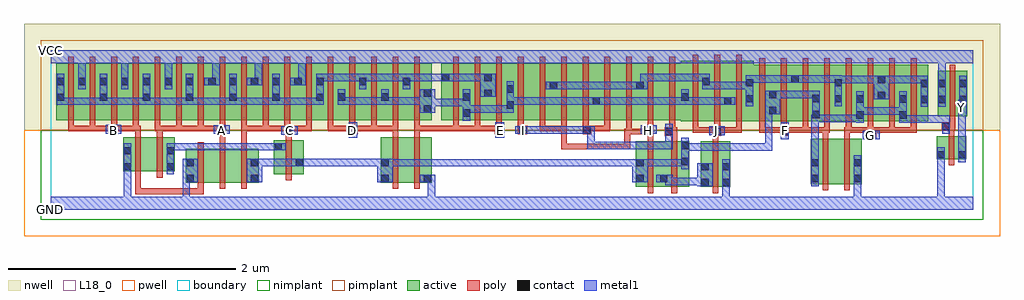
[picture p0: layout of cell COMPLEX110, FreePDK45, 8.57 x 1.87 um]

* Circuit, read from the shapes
.subckt COMPLEX110 A B C D E F G GND H I J VCC Y
M1 n1 B GND VSUBS nfet w=0.3u l=0.05u
M2 n2 A n1 VSUBS nfet w=0.3u l=0.05u
M3 n3 B GND VSUBS nfet w=0.3u l=0.05u
M4 n4 A n3 VSUBS nfet w=0.3u l=0.05u
M5 n5 C n4 VSUBS nfet w=0.3u l=0.05u
M6 n5 C n2 VSUBS nfet w=0.3u l=0.05u
M7 n6 D n5 VSUBS nfet w=0.4u l=0.05u
M8 GND E n6 VSUBS nfet w=0.4u l=0.05u
M9 n7 H n5 VSUBS nfet w=0.4u l=0.05u
M10 n5 I n7 VSUBS nfet w=0.4u l=0.05u
M11 GND J n7 VSUBS nfet w=0.4u l=0.05u
M12 n8 F n5 VSUBS nfet w=0.4u l=0.05u
M13 GND G n8 VSUBS nfet w=0.4u l=0.05u
M14 Y n5 GND VSUBS nfet w=0.2u l=0.05u
M15 VCC B n9 n10 pfet w=0.5u l=0.05u m=4
M16 VCC A n9 n10 pfet w=0.5u l=0.05u m=4
M17 VCC C n9 n10 pfet w=0.5u l=0.05u m=4
M18 n11 D n9 n10 pfet w=0.5u l=0.05u m=4
M19 n11 E n9 n10 pfet w=0.5u l=0.05u m=4
M20 n12 I n11 n10 pfet w=0.5u l=0.05u
M21 n13 H n12 n10 pfet w=0.5u l=0.05u
M22 n14 H n13 n10 pfet w=0.5u l=0.05u
M23 n11 I n14 n10 pfet w=0.5u l=0.05u
M24 n15 I n11 n10 pfet w=0.5u l=0.05u
M25 n13 H n15 n10 pfet w=0.5u l=0.05u
M26 n16 H n13 n10 pfet w=0.5u l=0.05u
M27 n11 I n16 n10 pfet w=0.5u l=0.05u
M28 n13 J n11 n10 pfet w=0.532u l=0.05u m=3
M29 n5 F n13 n10 pfet w=0.5u l=0.05u m=4
M30 n5 G n13 n10 pfet w=0.5u l=0.05u m=4
M31 Y n5 VCC n10 pfet w=0.4u l=0.05u
.ends

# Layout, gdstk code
import gdstk
lib = gdstk.Library(unit=1e-6, precision=1e-09)
def R(c, l, rs):  # rectangles x0, y0, x1, y1
    for r in rs: c.add(gdstk.rectangle(r[:2], r[2:], *l))
def A(c, l, x, y, w, h, nx, ny, dx, dy):  # array of equal rectangles
    R(c, l, [(x+i*dx, y+j*dy, x+i*dx+w, y+j*dy+h) for i in range(nx) for j in range(ny)])
active = (1, 0)
pwell = (2, 0)
nwell = (3, 0)
nimplant = (4, 0)
pimplant = (5, 0)
poly = (9, 0)
contact = (10, 0)
metal1 = (11, 0)
L18_0 = (18, 0)
boundary = (235, 0)

complex110 = lib.new_cell('COMPLEX110')
A(complex110, active, 6.877, 0.775, 0.265, 0.5, 3, 1, 0.19, 0)
A(complex110, active, 1.562, 0.787, 0.265, 0.5, 3, 1, 0.19, 0)
A(complex110, active, 0.802, 0.807, 0.075, 0.393, 4, 1, 0.38, 0)
A(complex110, active, 6.497, 0.807, 0.075, 0.393, 3, 1, 0.38, 0)
R(complex110, active, [(5.137,0.2,5.212,0.6), (5.137,0.2,5.42,0.6), (5.345,0.2,5.605,0.6), (5.345,0.2,5.42,0.492), (5.707,0.2,5.782,0.6), (5.707,0.2,5.967,0.6), (5.892,0.2,5.967,0.6), (6.672,0.225,6.897,0.625), (6.897,0.225,7.122,0.625), (6.672,0.235,6.747,0.625), (7.047,0.235,7.122,0.625), (1.187,0.237,1.262,0.537), (1.187,0.237,1.412,0.537), (1.412,0.237,1.602,0.537), (1.602,0.237,1.827,0.537), (1.752,0.237,1.827,0.537), (2.897,0.237,3.122,0.637), (2.897,0.237,2.972,0.637), (3.122,0.237,3.347,0.637), (3.272,0.237,3.347,0.637), (5.53,0.245,5.605,0.6), (1.96,0.312,2.22,0.612), (1.96,0.33,2.035,0.612), (2.145,0.33,2.22,0.612), (0.637,0.337,0.712,0.637), (0.637,0.337,0.862,0.637), (0.862,0.337,1.087,0.637), (1.012,0.337,1.087,0.637), (7.78,0.445,7.855,0.645), (7.78,0.445,8.04,0.645), (7.965,0.445,8.04,0.645), (5.532,0.775,5.792,1.307), (5.717,0.775,5.792,1.2), (5.717,0.775,5.982,1.307), (5.907,0.775,5.982,1.07), (5.907,0.775,6.172,1.307), (6.097,0.775,6.172,1.2), (6.097,0.775,6.377,1.275), (6.302,0.775,6.377,1.07), (6.302,0.775,6.572,1.275), (6.497,0.775,6.757,1.275), (6.682,0.775,6.757,1.07), (6.682,0.775,6.952,1.275), (7.067,0.775,7.142,1.07), (7.447,0.775,7.707,1.275), (7.447,0.775,7.522,1.07), (7.632,0.775,7.707,1.2), (0.047,0.787,0.312,1.287), (0.047,0.787,0.122,1.2), (0.237,0.787,0.502,1.287), (0.427,0.787,0.687,1.287), (0.612,0.787,0.877,1.287), (0.802,0.787,1.072,1.287), (0.997,0.787,1.257,1.287), (1.182,0.787,1.452,1.287), (1.377,0.787,1.637,1.287), (2.132,0.787,2.402,1.287), (2.327,0.787,2.592,1.287), (2.517,0.787,2.777,1.287), (2.702,0.787,2.972,1.287), (2.897,0.787,3.162,1.287), (3.087,0.787,3.347,1.287), (3.272,0.787,3.347,1.07), (3.427,0.787,3.687,1.287), (3.427,0.787,3.502,1.2), (3.612,0.787,3.877,1.287), (3.802,0.787,4.072,1.287), (3.997,0.787,4.222,1.287), (4.222,0.787,4.452,1.287), (4.377,0.787,4.602,1.287), (4.602,0.787,4.827,1.287), (4.752,0.787,4.982,1.287), (4.982,0.787,5.212,1.287), (5.137,0.787,5.362,1.287), (5.362,0.787,5.607,1.287), (5.532,0.787,5.607,1.07), (0.237,0.807,0.312,1.255), (0.427,0.807,0.502,1.2), (0.612,0.807,0.687,1.255), (0.997,0.807,1.072,1.255), (1.377,0.807,1.452,1.255), (1.752,0.807,1.827,1.255), (2.132,0.807,2.207,1.255), (2.327,0.807,2.402,1.2), (2.517,0.807,2.592,1.07), (2.702,0.807,2.777,1.2), (2.897,0.807,2.972,1.07), (3.087,0.807,3.162,1.2), (3.612,0.807,3.687,1.07), (3.802,0.807,3.877,1.2), (3.997,0.807,4.072,1.2), (4.377,0.807,4.452,1.2), (4.752,0.807,4.827,1.07), (5.137,0.807,5.212,1.2), (7.787,0.82,7.862,1.22), (7.787,0.82,8.047,1.22), (7.972,0.82,8.047,1.165)])
R(complex110, pwell, [(-0.235,-0.235,8.335,0.7)])
R(complex110, nwell, [(-0.235,0.7,8.335,1.635)])
R(complex110, nimplant, [(-0.09,-0.09,8.19,0.7)])
R(complex110, pimplant, [(-0.09,0.7,8.19,1.49)])
A(complex110, poly, 1.292, 0.182, 0.05, 0.41, 3, 1, 0.19, 0)
A(complex110, poly, 5.637, 0.675, 0.05, 0.095, 3, 1, 0.19, 0)
A(complex110, poly, 6.222, 0.675, 0.05, 0.095, 8, 1, 0.19, 0)
A(complex110, poly, 0.152, 0.687, 0.05, 0.095, 17, 1, 0.19, 0)
A(complex110, poly, 3.532, 0.687, 0.05, 0.095, 8, 1, 0.19, 0)
A(complex110, poly, 5.637, 0.72, 0.05, 0.642, 3, 1, 0.19, 0)
A(complex110, poly, 6.222, 0.72, 0.05, 0.61, 8, 1, 0.19, 0)
A(complex110, poly, 0.152, 0.732, 0.05, 0.61, 17, 1, 0.19, 0)
A(complex110, poly, 3.532, 0.732, 0.05, 0.61, 11, 1, 0.19, 0)
R(complex110, poly, [(0.742,0.137,0.792,0.187), (0.742,0.137,0.792,0.187), (0.742,0.137,0.792,0.187), (0.742,0.137,0.792,0.332), (0.742,0.137,1.02,0.187), (0.97,0.137,1.02,0.187), (0.97,0.137,1.02,0.187), (0.97,0.137,1.02,0.187), (0.97,0.137,1.21,0.187), (1.16,0.137,1.21,0.187), (1.16,0.137,1.342,0.187), (1.292,0.137,1.342,0.232), (1.292,0.137,1.342,0.187), (1.292,0.137,1.342,0.187), (1.292,0.137,1.342,0.187), (5.242,0.145,5.292,0.655), (5.45,0.145,5.5,0.655), (5.812,0.145,5.862,0.655), (6.777,0.17,6.827,0.68), (6.967,0.17,7.017,0.68), (3.002,0.182,3.052,0.692), (3.192,0.182,3.242,0.692), (2.065,0.257,2.115,0.667), (0.742,0.282,0.792,0.692), (0.932,0.282,0.982,0.692), (7.885,0.39,7.935,0.7), (4.482,0.53,4.532,0.58), (4.482,0.53,4.532,0.58), (4.482,0.53,4.532,0.58), (4.482,0.53,4.665,0.58), (4.482,0.53,4.532,0.737), (4.615,0.53,4.665,0.58), (4.615,0.53,4.665,0.58), (4.615,0.53,4.665,0.58), (4.615,0.53,4.955,0.58), (4.905,0.53,4.955,0.58), (4.905,0.53,4.955,0.58), (4.905,0.53,4.955,0.58), (4.905,0.53,5.087,0.58), (5.037,0.53,5.087,0.58), (5.037,0.53,5.087,0.58), (5.037,0.53,5.087,0.58), (5.037,0.53,5.087,0.712), (1.482,0.542,1.532,0.712), (1.672,0.542,1.722,0.737), (5.242,0.605,5.292,0.712), (5.45,0.605,5.5,0.7), (5.812,0.605,5.862,0.7), (2.065,0.617,2.115,0.712), (7.172,0.622,7.247,0.725), (6.777,0.63,6.827,0.725), (6.967,0.63,7.017,0.725), (0.742,0.642,0.792,0.737), (0.932,0.642,0.982,0.737), (3.002,0.642,3.052,0.737), (3.192,0.642,3.242,0.737), (5.392,0.65,5.5,0.725), (5.812,0.65,5.887,0.725), (6.405,0.65,6.48,0.725), (7.885,0.65,7.935,0.745), (0.512,0.662,0.587,0.737), (1.46,0.662,1.535,0.737), (2.052,0.662,2.13,0.737), (2.622,0.662,2.697,0.737), (3.897,0.662,3.972,0.737), (4.102,0.662,4.185,0.737), (4.672,0.662,4.747,0.737), (5.037,0.662,5.087,0.712), (5.037,0.662,5.087,0.712), (5.037,0.662,5.102,0.712), (5.052,0.662,5.267,0.712), (5.052,0.662,5.102,0.782), (5.217,0.662,5.267,0.712), (5.217,0.662,5.267,0.712), (5.217,0.662,5.292,0.737), (5.432,0.675,5.482,0.782), (5.637,0.675,5.687,0.725), (5.637,0.675,5.687,0.725), (5.637,0.675,5.687,0.725), (5.637,0.675,5.862,0.725), (5.837,0.675,6.067,0.725), (6.017,0.675,6.067,0.725), (6.017,0.675,6.067,0.725), (6.017,0.675,6.067,0.725), (6.222,0.675,6.272,0.725), (6.222,0.675,6.455,0.725), (6.405,0.675,6.455,0.725), (6.405,0.675,6.455,0.725), (6.43,0.675,6.652,0.725), (6.602,0.675,6.652,0.725), (6.602,0.675,6.652,0.725), (6.602,0.675,6.652,0.725), (6.602,0.675,6.827,0.725), (6.777,0.675,6.827,0.725), (6.777,0.675,6.827,0.725), (6.777,0.675,6.842,0.725), (6.967,0.675,7.032,0.725), (6.982,0.675,7.222,0.725), (7.172,0.675,7.222,0.725), (7.172,0.675,7.222,0.725), (7.197,0.675,7.412,0.725), (7.362,0.675,7.412,0.725), (7.362,0.675,7.412,0.725), (7.362,0.675,7.412,0.725), (7.362,0.675,7.602,0.725), (7.552,0.675,7.602,0.725), (7.552,0.675,7.602,0.725), (7.552,0.675,7.602,0.725), (0.152,0.687,0.202,0.737), (0.152,0.687,0.202,0.737), (0.152,0.687,0.202,0.737), (0.152,0.687,0.392,0.737), (0.342,0.687,0.392,0.737), (0.342,0.687,0.392,0.737), (0.342,0.687,0.392,0.737), (0.342,0.687,0.562,0.737), (0.537,0.687,0.587,0.737), (0.537,0.687,0.587,0.737), (0.537,0.687,0.772,0.737), (0.722,0.687,0.792,0.737), (0.912,0.687,0.982,0.737), (0.932,0.687,0.982,0.737), (0.932,0.687,0.982,0.737), (0.932,0.687,1.152,0.737), (1.102,0.687,1.152,0.737), (1.102,0.687,1.342,0.737), (1.292,0.687,1.342,0.737), (1.292,0.687,1.342,0.737), (1.292,0.687,1.342,0.737), (1.292,0.687,1.51,0.737), (1.46,0.687,1.51,0.737), (1.46,0.687,1.51,0.737), (1.672,0.687,1.722,0.737), (1.672,0.687,1.722,0.737), (1.672,0.687,1.722,0.737), (1.672,0.687,1.912,0.737), (1.862,0.687,1.915,0.737), (1.865,0.687,1.915,0.737), (1.865,0.687,1.915,0.737), (1.865,0.687,2.102,0.737), (2.08,0.687,2.13,0.737), (2.08,0.687,2.13,0.737), (2.08,0.687,2.292,0.737), (2.242,0.687,2.292,0.737), (2.432,0.687,2.482,0.737), (2.432,0.687,2.482,0.737), (2.432,0.687,2.482,0.737), (2.432,0.687,2.672,0.737), (2.647,0.687,2.862,0.737), (2.812,0.687,2.862,0.737), (2.812,0.687,2.862,0.737), (2.812,0.687,2.862,0.737), (2.812,0.687,3.052,0.737), (3.002,0.687,3.052,0.737), (3.002,0.687,3.052,0.737), (3.002,0.687,3.052,0.737), (3.192,0.687,3.242,0.737), (3.192,0.687,3.242,0.737), (3.192,0.687,3.242,0.737), (3.192,0.687,3.582,0.737), (3.532,0.687,3.582,0.737), (3.532,0.687,3.582,0.737), (3.532,0.687,3.582,0.737), (3.532,0.687,3.772,0.737), (3.722,0.687,3.772,0.737), (3.722,0.687,3.772,0.737), (3.722,0.687,3.772,0.737), (3.722,0.687,3.947,0.737), (3.897,0.687,3.947,0.737), (3.897,0.687,3.947,0.737), (4.292,0.687,4.342,0.737), (4.292,0.687,4.532,0.737), (4.482,0.687,4.532,0.737), (4.482,0.687,4.532,0.737), (4.482,0.687,4.532,0.737), (4.697,0.687,4.797,0.737), (4.747,0.687,4.797,0.737), (4.747,0.687,4.912,0.737), (4.862,0.687,4.912,0.737), (5.242,0.687,5.292,0.782), (7.825,0.695,7.942,0.77), (7.892,0.72,7.942,0.815), (7.892,0.765,7.942,1.275)])
A(complex110, contact, 0.807, 0.955, 0.065, 0.065, 4, 1, 0.38, 0)
A(complex110, contact, 0.052, 1.095, 0.065, 0.065, 3, 1, 0.19, 0)
A(complex110, contact, 1.567, 1.095, 0.065, 0.065, 4, 1, 0.19, 0)
R(complex110, contact, [(5.712,0.205,5.777,0.27), (5.897,0.205,5.962,0.27), (5.142,0.24,5.207,0.305), (5.35,0.24,5.415,0.305), (6.677,0.24,6.742,0.305), (7.052,0.24,7.117,0.305), (1.192,0.242,1.257,0.307), (1.757,0.242,1.822,0.307), (2.902,0.242,2.967,0.307), (3.277,0.242,3.342,0.307), (0.642,0.345,0.707,0.41), (1.017,0.345,1.082,0.41), (5.712,0.345,5.777,0.41), (5.897,0.345,5.962,0.41), (5.142,0.38,5.207,0.445), (6.677,0.38,6.742,0.445), (7.052,0.38,7.117,0.445), (1.192,0.382,1.257,0.447), (1.757,0.382,1.822,0.447), (2.15,0.382,2.215,0.447), (2.902,0.382,2.967,0.447), (5.535,0.39,5.6,0.455), (7.785,0.45,7.85,0.515), (7.97,0.45,8.035,0.515), (0.642,0.485,0.707,0.55), (1.017,0.485,1.082,0.55), (1.965,0.52,2.03,0.585), (5.535,0.53,5.6,0.595), (7.177,0.627,7.242,0.692), (5.397,0.655,5.462,0.72), (5.817,0.655,5.882,0.72), (6.41,0.655,6.475,0.72), (0.517,0.667,0.582,0.732), (1.465,0.667,1.53,0.732), (2.06,0.667,2.125,0.732), (2.627,0.667,2.692,0.732), (3.902,0.667,3.967,0.732), (4.115,0.667,4.18,0.732), (4.677,0.667,4.742,0.732), (5.222,0.667,5.287,0.732), (7.83,0.7,7.895,0.765), (7.072,0.8,7.137,0.865), (7.452,0.8,7.517,0.865), (6.687,0.805,6.752,0.87), (3.617,0.817,3.682,0.882), (6.307,0.84,6.372,0.905), (3.277,0.852,3.342,0.917), (4.002,0.887,4.067,0.952), (4.757,0.922,4.822,0.987), (5.912,0.922,5.977,0.987), (7.637,0.937,7.702,1.002), (7.792,0.937,7.857,1.002), (7.977,0.937,8.042,1.002), (7.072,0.94,7.137,1.005), (7.452,0.94,7.517,1.005), (6.102,0.942,6.167,1.007), (6.882,0.942,6.947,1.007), (6.687,0.945,6.752,1.01), (0.052,0.955,0.117,1.02), (0.432,0.955,0.497,1.02), (2.332,0.955,2.397,1.02), (2.522,0.957,2.587,1.022), (2.902,0.957,2.967,1.022), (3.617,0.957,3.682,1.022), (5.537,0.957,5.602,1.022), (7.262,0.972,7.327,1.037), (6.307,0.98,6.372,1.045), (3.807,0.99,3.872,1.055), (3.277,0.992,3.342,1.057), (4.002,1.027,4.067,1.092), (4.382,1.06,4.447,1.125), (5.142,1.06,5.207,1.125), (7.637,1.077,7.702,1.142), (7.792,1.077,7.857,1.142), (7.977,1.077,8.042,1.142), (6.102,1.082,6.167,1.147), (6.882,1.082,6.947,1.147), (0.617,1.095,0.682,1.16), (0.807,1.095,0.872,1.16), (1.002,1.095,1.067,1.16), (1.187,1.095,1.252,1.16), (1.382,1.095,1.447,1.16), (2.332,1.095,2.397,1.16), (2.707,1.095,2.772,1.16), (3.092,1.095,3.157,1.16), (5.722,1.095,5.787,1.16), (7.262,1.112,7.327,1.177), (6.502,1.117,6.567,1.182), (3.432,1.13,3.497,1.195), (3.807,1.13,3.872,1.195)])
A(complex110, metal1, 0.807, 0.92, 0.065, 0.275, 4, 1, 0.38, 0)
R(complex110, metal1, [(0,0,8.1,0.115), (0.642,0.05,0.707,0.115), (0.642,0.05,0.707,0.115), (0.642,0.05,0.707,0.115), (0.642,0.05,0.707,0.115), (0.642,0.05,0.707,0.375), (1.157,0.05,1.222,0.115), (1.157,0.05,1.222,0.115), (1.157,0.05,1.222,0.115), (1.157,0.05,1.222,0.115), (1.157,0.05,1.222,0.307), (3.312,0.05,3.377,0.307), (5.897,0.05,5.962,0.115), (5.897,0.05,5.962,0.115), (5.897,0.05,5.962,0.235), (7.052,0.05,7.117,0.115), (7.052,0.05,7.117,0.115), (7.052,0.05,7.117,0.27), (7.785,0.05,7.85,0.115), (7.785,0.05,7.85,0.115), (7.785,0.05,7.85,0.115), (7.785,0.05,7.85,0.115), (7.785,0.05,7.85,0.115), (7.785,0.05,7.85,0.115), (7.785,0.05,7.85,0.48), (5.897,0.17,5.962,0.445), (5.677,0.205,5.812,0.41), (6.677,0.205,6.742,0.48), (7.052,0.205,7.117,0.48), (5.397,0.217,5.602,0.282), (5.397,0.217,5.462,0.305), (5.537,0.217,5.602,0.282), (5.537,0.217,5.602,0.282), (5.537,0.217,5.602,0.282), (5.537,0.217,5.742,0.282), (5.107,0.24,5.242,0.445), (5.315,0.24,5.45,0.305), (5.385,0.24,5.462,0.305), (1.157,0.242,1.292,0.447), (1.722,0.242,1.857,0.447), (2.867,0.242,3.002,0.447), (3.242,0.242,3.377,0.307), (3.312,0.242,3.377,0.307), (3.312,0.242,3.377,0.307), (0.642,0.31,0.707,0.585), (1.017,0.31,1.082,0.585), (5.535,0.355,5.6,0.63), (2.937,0.38,3.002,0.445), (2.937,0.38,3.002,0.445), (2.937,0.38,3.157,0.445), (3.092,0.38,3.157,0.445), (3.092,0.38,3.325,0.445), (3.26,0.38,3.325,0.445), (3.26,0.38,3.325,0.445), (3.26,0.38,3.325,0.445), (3.26,0.38,3.515,0.445), (3.45,0.38,3.515,0.445), (3.45,0.38,3.515,0.445), (3.45,0.38,3.515,0.445), (3.45,0.38,3.682,0.445), (3.617,0.38,3.682,0.445), (3.617,0.38,3.682,0.445), (3.617,0.38,3.682,0.445), (3.617,0.38,3.82,0.445), (3.755,0.38,3.82,0.445), (3.755,0.38,3.967,0.445), (3.902,0.38,3.967,0.445), (3.902,0.38,4.067,0.445), (4.002,0.38,4.067,0.445), (4.002,0.38,4.205,0.445), (4.14,0.38,4.205,0.445), (4.14,0.38,4.205,0.445), (4.14,0.38,4.205,0.445), (4.14,0.38,4.355,0.445), (4.29,0.38,4.355,0.445), (4.29,0.38,4.355,0.445), (4.29,0.38,4.355,0.445), (4.29,0.38,4.57,0.445), (4.505,0.38,4.57,0.445), (4.505,0.38,4.64,0.445), (4.575,0.38,4.64,0.445), (4.575,0.38,4.777,0.445), (4.712,0.38,4.777,0.445), (4.712,0.38,4.777,0.445), (4.712,0.38,4.777,0.445), (4.712,0.38,4.925,0.445), (4.86,0.38,4.925,0.445), (4.86,0.38,4.995,0.445), (4.93,0.38,4.995,0.445), (4.93,0.38,5.105,0.445), (5.04,0.38,5.105,0.445), (5.04,0.38,5.172,0.445), (5.177,0.38,5.242,0.445), (5.177,0.38,5.242,0.445), (5.177,0.38,5.38,0.445), (5.315,0.38,5.38,0.445), (5.315,0.38,5.465,0.445), (5.4,0.38,5.465,0.445), (5.4,0.38,5.6,0.445), (1.792,0.382,1.857,0.447), (1.792,0.382,1.857,0.447), (1.792,0.382,1.995,0.447), (1.93,0.382,1.995,0.447), (1.93,0.382,2.18,0.447), (2.115,0.382,2.18,0.447), (2.115,0.382,2.18,0.447), (2.115,0.382,2.25,0.447), (2.185,0.382,2.387,0.447), (2.322,0.382,2.387,0.447), (2.322,0.382,2.387,0.447), (2.322,0.382,2.387,0.447), (2.322,0.382,2.542,0.447), (2.477,0.382,2.542,0.447), (2.477,0.382,2.542,0.447), (2.477,0.382,2.542,0.447), (2.477,0.382,2.692,0.447), (2.627,0.382,2.692,0.447), (2.627,0.382,2.725,0.447), (2.66,0.382,2.725,0.447), (2.66,0.382,2.83,0.447), (2.765,0.382,2.83,0.447), (2.765,0.382,2.932,0.447), (6.677,0.415,6.742,0.835), (7.785,0.415,7.85,0.55), (7.97,0.415,8.035,0.55), (7.97,0.485,8.035,0.897), (5.535,0.517,5.602,0.582), (5.537,0.517,5.602,0.582), (5.537,0.517,5.74,0.582), (5.675,0.517,5.74,0.582), (5.675,0.517,5.74,0.582), (5.675,0.517,5.74,0.582), (5.675,0.517,6.03,0.582), (5.965,0.517,6.03,0.582), (5.965,0.517,6.03,0.582), (5.965,0.517,6.03,0.582), (5.965,0.517,6.167,0.582), (6.102,0.517,6.167,0.582), (6.102,0.517,6.167,0.582), (6.102,0.517,6.167,0.582), (6.102,0.517,6.167,0.582), (6.102,0.517,6.167,0.582), (6.102,0.517,6.167,0.582), (6.102,0.517,6.167,0.582), (6.102,0.517,6.337,0.582), (6.272,0.517,6.337,0.582), (6.272,0.517,6.337,0.905), (1.017,0.52,1.082,0.585), (1.017,0.52,1.082,0.585), (1.017,0.52,1.275,0.585), (1.21,0.52,1.275,0.585), (1.21,0.52,1.275,0.585), (1.21,0.52,1.275,0.585), (1.21,0.52,1.43,0.585), (1.365,0.52,1.43,0.585), (1.365,0.52,1.43,0.585), (1.365,0.52,1.43,0.585), (1.365,0.52,1.65,0.585), (1.585,0.52,1.65,0.585), (1.585,0.52,1.65,0.585), (1.585,0.52,1.65,0.585), (1.585,0.52,1.857,0.585), (1.792,0.52,1.857,0.585), (1.792,0.52,1.857,0.585), (1.792,0.52,1.857,0.585), (1.792,0.52,1.995,0.585), (1.93,0.52,2.065,0.585), (4.712,0.53,4.777,0.595), (4.712,0.53,4.967,0.595), (4.712,0.53,4.777,0.732), (4.902,0.53,4.967,0.595), (4.902,0.53,4.995,0.595), (4.93,0.53,4.995,0.595), (4.93,0.53,5.105,0.595), (5.04,0.53,5.105,0.595), (5.04,0.53,5.242,0.595), (5.177,0.53,5.242,0.595), (5.177,0.53,5.242,0.595), (5.177,0.53,5.242,0.595), (5.177,0.53,5.462,0.595), (5.397,0.53,5.462,0.595), (5.397,0.53,5.462,0.685), (7.132,0.617,7.277,0.692), (5.397,0.62,5.462,0.685), (5.397,0.62,5.462,0.685), (5.397,0.62,5.462,0.755), (6.41,0.62,6.482,0.767), (2.615,0.632,2.692,0.77), (3.902,0.632,3.982,0.767), (5.782,0.655,5.917,0.732), (2.025,0.66,2.167,0.732), (7.83,0.665,7.895,0.8), (0.482,0.667,0.617,0.745), (1.43,0.667,1.57,0.742), (4.08,0.667,4.217,0.732), (4.152,0.667,4.217,0.732), (4.152,0.667,4.217,0.732), (4.152,0.667,4.355,0.732), (4.29,0.667,4.355,0.732), (4.29,0.667,4.355,0.732), (4.29,0.667,4.355,0.732), (4.29,0.667,4.492,0.732), (4.427,0.667,4.492,0.732), (4.427,0.667,4.63,0.732), (4.565,0.667,4.63,0.732), (4.565,0.667,4.707,0.732), (4.642,0.667,4.777,0.732), (4.712,0.667,4.777,0.732), (4.712,0.667,4.777,0.732), (5.182,0.667,5.322,0.742), (7.83,0.735,7.895,0.8), (7.83,0.735,7.895,0.8), (7.83,0.735,7.895,0.83), (7.072,0.765,7.137,1.04), (7.452,0.765,7.517,1.04), (7.452,0.765,7.655,0.83), (7.59,0.765,7.655,0.83), (7.59,0.765,7.655,0.83), (7.59,0.765,7.655,0.83), (7.59,0.765,7.895,0.83), (7.83,0.765,7.895,0.83), (7.83,0.765,7.895,0.83), (7.83,0.765,7.895,0.83), (6.677,0.77,6.742,0.835), (6.677,0.77,6.742,0.835), (6.677,0.77,6.752,0.835), (6.687,0.77,6.752,0.835), (6.687,0.77,6.752,1.045), (6.687,0.77,6.842,0.835), (6.777,0.77,6.842,0.835), (6.777,0.77,6.98,0.835), (6.915,0.77,6.98,0.835), (6.915,0.77,6.98,0.835), (6.915,0.77,6.98,0.835), (6.915,0.77,7.137,0.835), (3.617,0.782,3.682,1.057), (7.967,0.832,8.042,0.967), (7.072,0.835,7.38,0.9), (7.315,0.835,7.38,0.9), (7.315,0.835,7.38,0.9), (7.315,0.835,7.38,0.9), (7.315,0.835,7.517,0.9), (7.452,0.835,7.517,0.9), (7.452,0.835,7.517,0.9), (6.272,0.84,6.407,1.045), (3.242,0.852,3.377,1.057), (3.617,0.852,3.682,0.917), (3.617,0.852,3.682,0.917), (3.617,0.852,3.93,0.917), (3.865,0.852,3.93,0.917), (3.865,0.852,4.007,0.917), (3.942,0.852,4.007,0.917), (3.942,0.852,4.067,0.917), (4.002,0.852,4.067,1.127), (7.637,0.902,7.702,1.177), (7.792,0.902,7.857,1.177), (7.977,0.902,8.042,0.967), (7.977,0.902,8.042,1.177), (6.102,0.907,6.167,1.182), (6.882,0.907,6.947,1.182), (3.312,0.91,3.515,0.975), (3.45,0.91,3.515,0.975), (3.45,0.91,3.515,0.975), (3.45,0.91,3.515,0.975), (3.45,0.91,3.682,0.975), (0.052,0.92,0.117,0.985), (0.052,0.92,0.117,0.985), (0.052,0.92,0.117,1.195), (0.052,0.92,0.36,0.985), (0.295,0.92,0.36,0.985), (0.295,0.92,0.36,0.985), (0.295,0.92,0.36,0.985), (0.295,0.92,0.497,0.985), (0.432,0.92,0.497,0.985), (0.432,0.92,0.497,0.985), (0.432,0.92,0.497,1.195), (0.432,0.92,0.635,0.985), (0.57,0.92,0.635,0.985), (0.57,0.92,0.635,0.985), (0.57,0.92,0.635,0.985), (0.57,0.92,0.872,0.985), (0.807,0.92,0.872,0.985), (0.807,0.92,0.872,0.985), (0.807,0.92,1.085,0.985), (1.02,0.92,1.085,0.985), (1.02,0.92,1.085,0.985), (1.02,0.92,1.085,0.985), (1.02,0.92,1.252,0.985), (1.187,0.92,1.252,0.985), (1.187,0.92,1.252,0.985), (1.187,0.92,1.495,0.985), (1.43,0.92,1.495,0.985), (1.43,0.92,1.495,0.985), (1.43,0.92,1.495,0.985), (1.43,0.92,1.632,0.985), (1.567,0.92,1.632,0.985), (1.567,0.92,1.632,0.985), (1.567,0.92,1.787,0.985), (1.722,0.92,1.787,0.985), (1.722,0.92,1.95,0.985), (1.885,0.92,1.95,0.985), (1.885,0.92,2.012,0.985), (1.947,0.92,2.152,0.985), (2.087,0.92,2.152,0.985), (2.087,0.92,2.152,0.985), (2.087,0.92,2.152,0.985), (2.087,0.92,2.397,0.985), (2.332,0.92,2.397,0.985), (2.332,0.92,2.397,0.985), (2.332,0.92,2.397,1.195), (2.522,0.922,2.587,1.057), (2.522,0.922,2.692,0.987), (2.627,0.922,2.692,0.987), (2.627,0.922,2.725,0.987), (2.66,0.922,2.725,0.987), (2.66,0.922,2.83,0.987), (2.765,0.922,2.83,0.987), (2.765,0.922,2.967,0.987), (2.902,0.922,2.967,0.987), (2.902,0.922,2.967,0.987), (2.902,0.922,2.967,1.057), (2.902,0.922,3.157,0.987), (3.092,0.922,3.157,0.987), (3.092,0.922,3.157,0.987), (3.092,0.922,3.157,0.987), (3.092,0.922,3.307,0.987), (4.002,0.922,4.205,0.987), (4.14,0.922,4.205,0.987), (4.14,0.922,4.205,0.987), (4.14,0.922,4.205,0.987), (4.14,0.922,4.355,0.987), (4.29,0.922,4.355,0.987), (4.29,0.922,4.492,0.987), (4.427,0.922,4.492,0.987), (4.427,0.922,4.492,0.987), (4.427,0.922,4.492,0.987), (4.427,0.922,4.64,0.987), (4.575,0.922,4.64,0.987), (4.575,0.922,4.787,0.987), (4.722,0.922,4.787,0.987), (4.722,0.922,4.787,0.987), (4.722,0.922,4.857,0.987), (4.792,0.922,4.967,0.987), (4.902,0.922,4.967,0.987), (4.902,0.922,4.995,0.987), (4.93,0.922,4.995,0.987), (4.93,0.922,5.105,0.987), (5.04,0.922,5.105,0.987), (5.04,0.922,5.242,0.987), (5.177,0.922,5.242,0.987), (5.177,0.922,5.242,0.987), (5.177,0.922,5.242,0.987), (5.177,0.922,5.38,0.987), (5.315,0.922,5.38,0.987), (5.315,0.922,5.465,0.987), (5.4,0.922,5.465,0.987), (5.4,0.922,5.602,0.987), (5.537,0.922,5.602,0.987), (5.537,0.922,5.602,0.987), (5.537,0.922,5.602,1.057), (5.537,0.922,5.74,0.987), (5.675,0.922,5.74,0.987), (5.675,0.922,5.892,0.987), (5.827,0.922,5.892,0.987), (5.827,0.922,5.942,0.987), (5.877,0.922,6.012,0.987), (7.227,0.972,7.362,1.177), (6.33,0.98,6.395,1.045), (6.33,0.98,6.395,1.045), (6.33,0.98,6.395,1.045), (6.33,0.98,6.395,1.045), (6.33,0.98,6.567,1.045), (6.502,0.98,6.567,1.045), (6.502,0.98,6.705,1.045), (6.64,0.98,6.705,1.045), (6.64,0.98,6.752,1.045), (3.772,0.99,3.907,1.195), (0.242,1.06,0.307,1.195), (0.617,1.06,0.682,1.195), (1.002,1.06,1.067,1.195), (2.707,1.06,2.772,1.195), (3.092,1.06,3.157,1.195), (4.347,1.06,4.482,1.125), (4.417,1.06,4.57,1.125), (4.505,1.06,4.57,1.125), (4.505,1.06,4.64,1.125), (4.575,1.06,4.64,1.125), (4.575,1.06,4.787,1.125), (4.722,1.06,4.787,1.125), (4.722,1.06,4.787,1.125), (4.722,1.06,4.787,1.125), (4.722,1.06,4.967,1.125), (4.902,1.06,4.967,1.125), (4.902,1.06,4.995,1.125), (4.93,1.06,4.995,1.125), (4.93,1.06,5.105,1.125), (5.04,1.06,5.105,1.125), (5.04,1.06,5.172,1.125), (5.107,1.06,5.242,1.125), (5.177,1.06,5.242,1.125), (5.177,1.06,5.242,1.195), (5.722,1.06,5.787,1.125), (5.722,1.06,5.787,1.125), (5.722,1.06,5.787,1.195), (5.722,1.06,6.03,1.125), (5.965,1.06,6.03,1.125), (5.965,1.06,6.03,1.125), (5.965,1.06,6.03,1.125), (5.965,1.06,6.167,1.125), (1.347,1.095,1.482,1.16), (1.417,1.095,1.482,1.35), (1.722,1.095,1.857,1.16), (1.792,1.095,1.857,1.35), (2.102,1.095,2.237,1.16), (2.172,1.095,2.237,1.35), (6.882,1.112,6.98,1.177), (6.915,1.112,6.98,1.177), (6.915,1.112,7.155,1.177), (7.09,1.112,7.155,1.177), (7.09,1.112,7.155,1.177), (7.09,1.112,7.155,1.177), (7.09,1.112,7.292,1.177), (7.297,1.112,7.517,1.177), (7.452,1.112,7.517,1.177), (7.452,1.112,7.517,1.177), (7.452,1.112,7.517,1.177), (7.452,1.112,7.702,1.177), (7.637,1.112,7.702,1.177), (7.637,1.112,7.702,1.177), (7.792,1.112,7.857,1.35), (6.102,1.117,6.167,1.182), (6.102,1.117,6.167,1.182), (6.102,1.117,6.305,1.182), (6.24,1.117,6.305,1.182), (6.24,1.117,6.305,1.182), (6.24,1.117,6.305,1.182), (6.24,1.117,6.532,1.182), (6.467,1.117,6.602,1.182), (6.537,1.117,6.602,1.182), (6.537,1.117,6.602,1.182), (6.537,1.117,6.81,1.182), (6.745,1.117,6.81,1.182), (6.745,1.117,6.842,1.182), (6.777,1.117,6.842,1.182), (6.777,1.117,6.947,1.182), (0.242,1.13,0.307,1.35), (0.617,1.13,0.682,1.35), (1.002,1.13,1.067,1.35), (2.332,1.13,2.535,1.195), (2.47,1.13,2.535,1.195), (2.47,1.13,2.535,1.195), (2.47,1.13,2.535,1.195), (2.47,1.13,2.692,1.195), (2.627,1.13,2.692,1.195), (2.627,1.13,2.772,1.195), (2.707,1.13,2.83,1.195), (2.765,1.13,2.83,1.195), (2.765,1.13,3.02,1.195), (2.955,1.13,3.02,1.195), (2.955,1.13,3.02,1.195), (2.955,1.13,3.02,1.195), (2.955,1.13,3.157,1.195), (3.092,1.13,3.157,1.195), (3.092,1.13,3.157,1.195), (3.092,1.13,3.295,1.195), (3.23,1.13,3.295,1.195), (3.23,1.13,3.462,1.195), (3.397,1.13,3.532,1.195), (3.467,1.13,3.532,1.195), (3.467,1.13,3.532,1.195), (3.467,1.13,3.67,1.195), (3.605,1.13,3.67,1.195), (3.605,1.13,3.83,1.195), (3.765,1.13,3.83,1.195), (3.765,1.13,3.837,1.195), (5.177,1.13,5.38,1.195), (5.315,1.13,5.38,1.195), (5.315,1.13,5.46,1.195), (5.395,1.13,5.46,1.195), (5.395,1.13,5.602,1.195), (5.537,1.13,5.602,1.195), (5.537,1.13,5.602,1.195), (5.537,1.13,5.602,1.195), (5.537,1.13,5.787,1.195), (0,1.285,8.1,1.4)])
A(complex110, L18_0, 5.217, 0.667, 0.065, 0.065, 3, 1, 0.6, 0)
R(complex110, L18_0, [(0,0,8.1,0.115), (0.642,0.05,0.707,0.115), (0.642,0.05,0.707,0.115), (0.642,0.05,0.707,0.115), (0.642,0.05,0.707,0.115), (0.642,0.05,0.707,0.375), (1.157,0.05,1.222,0.115), (1.157,0.05,1.222,0.115), (1.157,0.05,1.222,0.115), (1.157,0.05,1.222,0.115), (1.157,0.05,1.222,0.307), (3.312,0.05,3.377,0.307), (5.897,0.05,5.962,0.115), (5.897,0.05,5.962,0.115), (5.897,0.05,5.962,0.235), (7.052,0.05,7.117,0.27), (7.052,0.05,7.117,0.115), (7.052,0.05,7.117,0.115), (7.785,0.05,7.85,0.115), (7.785,0.05,7.85,0.115), (7.785,0.05,7.85,0.115), (7.785,0.05,7.85,0.115), (7.785,0.05,7.85,0.115), (7.785,0.05,7.85,0.115), (7.785,0.05,7.85,0.48), (5.897,0.17,5.962,0.445), (7.052,0.205,7.117,0.48), (1.157,0.242,1.292,0.447), (3.242,0.242,3.377,0.307), (3.312,0.242,3.377,0.307), (3.312,0.242,3.377,0.307), (0.642,0.31,0.707,0.585), (7.785,0.415,7.85,0.55), (7.97,0.415,8.035,0.55), (7.97,0.485,8.035,0.897), (4.712,0.53,4.777,0.595), (4.712,0.53,4.777,0.732), (4.712,0.53,4.967,0.595), (4.902,0.53,4.967,0.595), (4.902,0.53,4.995,0.595), (4.93,0.53,4.995,0.595), (4.93,0.53,5.105,0.595), (5.04,0.53,5.105,0.595), (5.04,0.53,5.242,0.595), (5.177,0.53,5.242,0.595), (5.177,0.53,5.242,0.595), (5.177,0.53,5.242,0.595), (5.177,0.53,5.462,0.595), (5.397,0.53,5.462,0.595), (5.397,0.53,5.462,0.685), (7.132,0.617,7.277,0.692), (7.167,0.617,7.232,0.682), (5.397,0.62,5.462,0.755), (5.397,0.62,5.462,0.685), (5.397,0.62,5.462,0.685), (6.41,0.62,6.482,0.767), (2.615,0.632,2.692,0.77), (3.902,0.632,3.982,0.767), (5.782,0.655,5.917,0.732), (2.025,0.66,2.167,0.732), (0.482,0.667,0.617,0.745), (0.517,0.667,0.582,0.732), (1.43,0.667,1.57,0.742), (1.467,0.667,1.532,0.732), (2.067,0.667,2.132,0.732), (2.617,0.667,2.682,0.732), (3.917,0.667,3.982,0.732), (4.08,0.667,4.217,0.732), (4.117,0.667,4.182,0.732), (4.152,0.667,4.217,0.732), (4.152,0.667,4.217,0.732), (4.152,0.667,4.355,0.732), (4.29,0.667,4.355,0.732), (4.29,0.667,4.355,0.732), (4.29,0.667,4.355,0.732), (4.29,0.667,4.492,0.732), (4.427,0.667,4.492,0.732), (4.427,0.667,4.63,0.732), (4.565,0.667,4.63,0.732), (4.565,0.667,4.707,0.732), (4.642,0.667,4.777,0.732), (4.712,0.667,4.777,0.732), (4.712,0.667,4.777,0.732), (5.182,0.667,5.322,0.742), (7.967,0.832,8.042,0.967), (7.967,0.867,8.032,0.932), (7.792,0.902,7.857,1.177), (7.977,0.902,8.042,0.967), (7.977,0.902,8.042,1.177), (0.242,1.06,0.307,1.195), (0.617,1.06,0.682,1.195), (1.002,1.06,1.067,1.195), (1.347,1.095,1.482,1.16), (1.417,1.095,1.482,1.35), (1.722,1.095,1.857,1.16), (1.792,1.095,1.857,1.35), (2.102,1.095,2.237,1.16), (2.172,1.095,2.237,1.35), (7.792,1.112,7.857,1.35), (0.242,1.13,0.307,1.35), (0.617,1.13,0.682,1.35), (1.002,1.13,1.067,1.35), (0,1.285,8.1,1.4)])
R(complex110, boundary, [(0,0,8.1,1.4)])
complex110.add(gdstk.Label('A', (1.5,0.7), layer=11, texttype=0))
complex110.add(gdstk.Label('B', (0.55,0.7), layer=11, texttype=0))
complex110.add(gdstk.Label('C', (2.1,0.7), layer=11, texttype=0))
complex110.add(gdstk.Label('D', (2.65,0.7), layer=11, texttype=0))
complex110.add(gdstk.Label('E', (3.95,0.7), layer=11, texttype=0))
complex110.add(gdstk.Label('F', (6.45,0.7), layer=11, texttype=0))
complex110.add(gdstk.Label('G', (7.2,0.65), layer=11, texttype=0))
complex110.add(gdstk.Label('H', (5.25,0.7), layer=11, texttype=0))
complex110.add(gdstk.Label('I', (4.15,0.7), layer=11, texttype=0))
complex110.add(gdstk.Label('J', (5.85,0.7), layer=11, texttype=0))
complex110.add(gdstk.Label('Y', (8,0.9), layer=11, texttype=0))
complex110.add(gdstk.Label('VCC', (0,1.4), layer=11, texttype=0))
complex110.add(gdstk.Label('GND', (0,0), layer=11, texttype=0))

lib.write_gds('COMPLEX110.gds')
